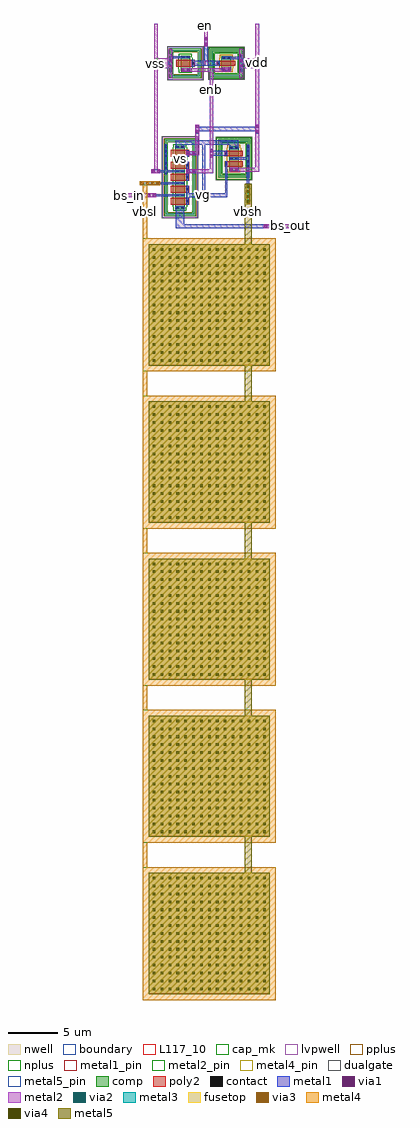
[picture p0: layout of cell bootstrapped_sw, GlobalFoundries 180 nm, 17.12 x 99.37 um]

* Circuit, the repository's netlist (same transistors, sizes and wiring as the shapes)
* NGSPICE file created from bootstrapped_sw.ext - technology: gf180mcuD

.subckt XM1_bs G D a_n302_n324# a_n302_252# S
X0 S G D a_n302_n324# nfet_06v0 ad=0.44p pd=2.88u as=0.44p ps=2.88u w=1u l=0.7u
.ends

.subckt XM4_bs G D w_n319_n356# S
X0 S G D w_n319_n356# pfet_06v0 ad=0.44p pd=2.88u as=0.44p ps=2.88u w=1u l=0.55u
.ends

.subckt XMs1_bs G D a_n302_n324# S
X0 D G S a_n302_n324# nfet_06v0 ad=0.44p pd=2.88u as=0.44p ps=2.88u w=1u l=0.7u
.ends

.subckt bs_cap I1_1_1_R0_BOT I1_1_1_R0_TOP
X0 I1_1_1_R0_TOP I1_1_1_R0_BOT cap_mim_2f0fF c_width=12.339999u c_length=12.339999u
.ends

.subckt XM3_bs G D w_n319_n356# S
X0 D G S w_n319_n356# pfet_06v0 ad=0.44p pd=2.88u as=0.44p ps=2.88u w=1u l=0.55u
.ends

.subckt XM1_bs_inv G D a_n302_n324# S
X0 D G S a_n302_n324# nfet_06v0 ad=0.44p pd=2.88u as=0.44p ps=2.88u w=1u l=0.7u
.ends

.subckt XM2_bs_inv G D w_n319_n356# S
X0 D G S w_n319_n356# pfet_06v0 ad=0.44p pd=2.88u as=0.44p ps=2.88u w=1u l=0.55u
.ends

.subckt bs_inv inv_out vdd inv_in vss
XXM1_bs_inv_0 inv_in inv_out vss vss XM1_bs_inv
XXM2_bs_inv_0 inv_in inv_out vdd vdd XM2_bs_inv
.ends

.subckt XMs_bs G D a_n302_n324# S
X0 D G S a_n302_n324# nfet_06v0 ad=0.44p pd=2.88u as=0.44p ps=2.88u w=1u l=0.7u
.ends

.subckt XM2_bs G D a_n302_n324# a_n302_252# S
X0 D G S a_n302_n324# nfet_06v0 ad=0.44p pd=2.88u as=0.44p ps=2.88u w=1u l=0.7u
.ends

.subckt XMs2_bs G D a_n302_n324# a_n302_252# S
X0 S G D a_n302_n324# nfet_06v0 ad=0.44p pd=2.88u as=0.44p ps=2.88u w=1u l=0.7u
.ends

.subckt bootstrapped_sw vbsl vbsh vdd vss en enb bs_in bs_out vg vs
XXM1_bs_0 vg bs_in vss vss vbsl XM1_bs
XXM4_bs_0 vg vbsh vbsh vdd XM4_bs
XXMs1_bs_0 vdd vs vss vg XMs1_bs
Xbs_cap_0 vbsl vbsh bs_cap
Xbs_cap_1 vbsl vbsh bs_cap
XXM3_bs_0 enb vg vbsh vbsh XM3_bs
Xbs_cap_2 vbsl vbsh bs_cap
Xbs_cap_4 vbsl vbsh bs_cap
Xbs_cap_3 vbsl vbsh bs_cap
Xbs_inv_0 enb vdd en vss bs_inv
XXMs_bs_0 vg bs_out vss bs_in XMs_bs
XXM2_bs_0 enb vbsl vss vss vss XM2_bs
XXMs2_bs_0 enb vs vss vss vss XMs2_bs
.ends

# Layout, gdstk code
from math import pi, radians
import gdstk
lib = gdstk.Library(unit=1e-6, precision=1e-09)
def R(c, l, rs):  # rectangles x0, y0, x1, y1
    for r in rs: c.add(gdstk.rectangle(r[:2], r[2:], *l))
def A(c, l, x, y, w, h, nx, ny, dx, dy):  # array of equal rectangles
    R(c, l, [(x+i*dx, y+j*dy, x+i*dx+w, y+j*dy+h) for i in range(nx) for j in range(ny)])
boundary = (0, 0)
nwell = (21, 0)
comp = (22, 0)
poly2 = (30, 0)
pplus = (31, 0)
nplus = (32, 0)
contact = (33, 0)
metal1 = (34, 0)
metal1_pin = (34, 10)
via1 = (35, 0)
metal2 = (36, 0)
metal2_pin = (36, 10)
via2 = (38, 0)
via3 = (40, 0)
via4 = (41, 0)
metal3 = (42, 0)
metal4 = (46, 0)
metal4_pin = (46, 10)
dualgate = (55, 0)
fusetop = (75, 0)
metal5 = (81, 0)
metal5_pin = (81, 10)
cap_mk = (117, 5)
L117_10 = (117, 10)
lvpwell = (204, 0)

xm2_bs_inv = lib.new_cell('XM2_bs_inv')
R(xm2_bs_inv, boundary, [(-1.255,-1.44,1.255,1.44)])
R(xm2_bs_inv, nwell, [(-1.595,-1.78,1.595,1.78)])
R(xm2_bs_inv, comp, [(-1.435,-1.62,1.435,-1.26), (-1.435,-1.26,-1.075,1.26), (1.075,-1.26,1.435,1.26), (-0.715,-0.5,0.715,0.5), (-1.435,1.26,1.435,1.62)])
R(xm2_bs_inv, poly2, [(-0.275,-0.915,0.275,0.96)])
R(xm2_bs_inv, pplus, [(-0.505,-0.73,0.505,-0.66), (-0.875,-0.66,0.875,0.66), (-0.505,0.66,0.505,0.73)])
R(xm2_bs_inv, nplus, [(-1.595,-1.78,1.595,-1.19), (-1.595,-1.19,-1.005,1.19), (1.005,-1.19,1.595,1.19), (-1.595,1.19,1.595,1.78)])
A(xm2_bs_inv, contact, -0.815, -1.55, 0.22, 0.22, 4, 1, 0.47, 0)
R(xm2_bs_inv, contact, [(-0.645,-0.345,-0.425,-0.125), (0.425,-0.345,0.645,-0.125), (-0.645,0.125,-0.425,0.345), (0.425,0.125,0.645,0.345), (-0.11,0.67,0.11,0.89)])
R(xm2_bs_inv, metal1, [(-0.9,-1.555,0.9,-1.325), (-0.65,-0.435,-0.42,0.435), (0.42,-0.435,0.65,0.435), (-0.265,0.665,0.265,0.895)])
R(xm2_bs_inv, dualgate, [(-1.675,-1.86,1.675,1.86)])
xm2_bs_inv.add(gdstk.Label('D', (0.6,0), layer=34, texttype=0))
xm2_bs_inv.add(gdstk.Label('S', (-0.6,0), layer=34, texttype=0))
xm2_bs_inv.add(gdstk.Label('G', (0,0), layer=30, texttype=10))

xm1_bs_inv = lib.new_cell('XM1_bs_inv')
R(xm1_bs_inv, boundary, [(-1.33,-1.44,1.33,1.44)])
R(xm1_bs_inv, comp, [(-1.51,-1.62,1.51,-1.26), (-1.51,-1.26,-1.15,1.26), (1.15,-1.26,1.51,1.26), (-0.79,-0.5,0.79,0.5), (-1.51,1.26,1.51,1.62)])
R(xm1_bs_inv, poly2, [(-0.35,-0.915,0.35,0.96), (-0.35,-0.915,0.35,0.96)])
R(xm1_bs_inv, pplus, [(-1.025,-1.65,1.025,-1.64), (-1.53,-1.64,1.53,-1.23), (-1.53,-1.23,-1.13,1.24), (1.13,-1.23,1.53,1.24), (-1.53,1.24,1.53,1.64)])
R(xm1_bs_inv, nplus, [(-0.58,-0.73,0.58,-0.66), (-0.95,-0.66,0.95,0.66), (-0.58,0.66,0.58,0.73)])
A(xm1_bs_inv, contact, -0.815, -1.55, 0.22, 0.22, 4, 1, 0.47, 0)
R(xm1_bs_inv, contact, [(-0.72,-0.345,-0.5,-0.125), (0.5,-0.345,0.72,-0.125), (-0.72,0.125,-0.5,0.345), (0.5,0.125,0.72,0.345), (-0.11,0.67,0.11,0.89)])
R(xm1_bs_inv, metal1, [(-0.93,-1.555,0.93,-1.325), (-0.725,-0.435,-0.495,0.435), (0.495,-0.435,0.725,0.435), (-0.34,0.665,0.34,0.895)])
R(xm1_bs_inv, dualgate, [(-1.75,-1.86,1.75,1.86)])
R(xm1_bs_inv, lvpwell, [(-1.67,-1.78,1.67,1.78)])
xm1_bs_inv.add(gdstk.Label('D', (0.6,0), layer=34, texttype=0))
xm1_bs_inv.add(gdstk.Label('S', (-0.6,0), layer=34, texttype=0))
xm1_bs_inv.add(gdstk.Label('G', (0,0), layer=30, texttype=10))

bs_inv = lib.new_cell('bs_inv')
R(bs_inv, metal1, [(3.55,-5.865,4.45,-5.485), (3.275,-5.715,3.505,-3.725), (4.495,-4.61,4.875,-3.71), (3.735,-3.495,4.265,-0.665), (4.42,-0.45,4.8,0.45), (3.35,-0.435,3.58,1.555), (3.55,1.325,4.45,1.705)])
R(bs_inv, metal1_pin, [(3.07,-5.715,3.3,-5.485), (3.735,-2.17,4.265,-1.83), (3.1,1.325,3.33,1.555)])
R(bs_inv, via1, [(3.61,-5.805,3.87,-5.545), (4.13,-5.805,4.39,-5.545), (4.555,-4.55,4.815,-4.29), (4.555,-4.03,4.815,-3.77), (4.48,-0.39,4.74,-0.13), (4.48,0.13,4.74,0.39), (3.61,1.385,3.87,1.645), (4.13,1.385,4.39,1.645)])
R(bs_inv, metal2, [(2.5,-5.865,5.5,-5.485), (3.55,-5.865,4.45,-5.485), (4.495,-4.61,4.875,-3.71), (4.495,-4.61,4.875,0.45), (4.42,-0.45,4.8,0.45), (2.5,1.325,5.5,1.705), (3.55,1.325,4.45,1.705)])
R(bs_inv, metal2_pin, [(4.495,-2.17,4.875,-1.83)])
bs_inv.add(gdstk.Reference(xm2_bs_inv, (4,0), x_reflection=True))
bs_inv.add(gdstk.Reference(xm1_bs_inv, (4,-4.16)))
bs_inv.add(gdstk.Label('inv_out', (4.68,-1.998), layer=36, texttype=10))
bs_inv.add(gdstk.Label('vdd', (3.214,1.44), layer=34, texttype=10))
bs_inv.add(gdstk.Label('vss', (3.184,-5.6), layer=34, texttype=10))
bs_inv.add(gdstk.Label('inv_in', (3.999,-1.987), layer=34, texttype=10))

xms1_bs = lib.new_cell('XMs1_bs')
R(xms1_bs, boundary, [(-1.33,-1.44,1.33,1.44)])
R(xms1_bs, comp, [(-1.51,-1.62,1.51,-1.26), (-1.51,-1.26,-1.15,1.26), (-0.79,-0.5,0.79,0.5), (-1.51,1.26,1.51,1.62)])
R(xms1_bs, poly2, [(-0.35,-0.915,0.35,0.96)])
R(xms1_bs, pplus, [(-1.025,-1.65,1.025,-1.64), (-1.53,-1.64,1.53,-1.23), (-1.53,-1.23,-1.13,1.24), (-1.53,1.24,1.53,1.64)])
R(xms1_bs, nplus, [(-0.58,-0.73,0.61,-0.66), (-0.95,-0.66,0.95,0.66), (-0.58,0.66,0.61,0.73)])
A(xms1_bs, contact, -0.815, -1.55, 0.22, 0.22, 3, 1, 0.47, 0)
R(xms1_bs, contact, [(-0.72,-0.345,-0.5,-0.125), (0.5,-0.345,0.72,-0.125), (-0.72,0.125,-0.5,0.345), (0.5,0.125,0.72,0.345), (-0.11,0.67,0.11,0.89)])
R(xms1_bs, metal1, [(-0.93,-1.555,0.93,-1.325), (-0.725,-0.435,-0.495,0.435), (0.495,-0.435,0.725,0.435), (-0.34,0.665,0.34,0.895)])
R(xms1_bs, dualgate, [(-1.75,-1.86,1.75,1.86)])
R(xms1_bs, lvpwell, [(-1.67,-1.78,1.67,1.78)])
xms1_bs.add(gdstk.Label('D', (0.6,0), layer=34, texttype=0))
xms1_bs.add(gdstk.Label('S', (-0.6,0), layer=34, texttype=0))
xms1_bs.add(gdstk.Label('G', (0,0), layer=30, texttype=10))

xms_bs = lib.new_cell('XMs_bs')
R(xms_bs, boundary, [(-1.33,-1.44,1.33,1.44)])
R(xms_bs, comp, [(-1.51,-1.62,1.51,-1.26), (1.15,-1.26,1.51,1.26), (-0.79,-0.5,0.79,0.5), (-1.51,1.26,1.51,1.62)])
R(xms_bs, poly2, [(-0.35,-0.915,0.35,0.96)])
R(xms_bs, pplus, [(-1.025,-1.65,1.025,-1.64), (-1.53,-1.64,1.53,-1.23), (1.13,-1.23,1.53,1.24), (-1.53,1.24,1.53,1.64)])
R(xms_bs, nplus, [(-0.61,-0.73,0.58,-0.66), (-0.95,-0.66,0.95,0.66), (-0.61,0.66,0.58,0.73)])
R(xms_bs, contact, [(-0.72,-0.345,-0.5,-0.125), (0.5,-0.345,0.72,-0.125), (-0.72,0.125,-0.5,0.345), (0.5,0.125,0.72,0.345), (-0.11,0.67,0.11,0.89)])
R(xms_bs, metal1, [(-0.725,-0.435,-0.495,0.435), (0.495,-0.435,0.725,0.435), (-0.34,0.665,0.34,0.895)])
R(xms_bs, dualgate, [(-1.75,-1.86,1.75,1.86)])
R(xms_bs, lvpwell, [(-1.67,-1.78,1.67,1.78)])
xms_bs.add(gdstk.Label('D', (0.6,0), layer=34, texttype=0))
xms_bs.add(gdstk.Label('S', (-0.6,0), layer=34, texttype=0))
xms_bs.add(gdstk.Label('G', (0,0), layer=30, texttype=10))

xm1_bs = lib.new_cell('XM1_bs')
R(xm1_bs, boundary, [(-1.33,-1.44,1.33,1.44)])
R(xm1_bs, comp, [(-1.51,-1.62,1.51,-1.26), (-0.79,-0.5,0.79,0.5), (-1.51,1.26,1.51,1.62)])
R(xm1_bs, poly2, [(-0.35,-0.915,0.35,0.96)])
R(xm1_bs, pplus, [(-1.025,-1.65,1.025,-1.64), (-1.53,-1.64,1.53,-1.23), (-1.53,1.24,1.53,1.64)])
R(xm1_bs, nplus, [(-0.61,-0.73,0.61,-0.66), (-0.95,-0.66,0.95,0.66), (-0.61,0.66,0.61,0.73)])
R(xm1_bs, contact, [(-0.72,-0.345,-0.5,-0.125), (0.5,-0.345,0.72,-0.125), (-0.72,0.125,-0.5,0.345), (0.5,0.125,0.72,0.345), (-0.11,0.67,0.11,0.89)])
R(xm1_bs, metal1, [(-0.725,-0.435,-0.495,0.435), (0.495,-0.435,0.725,0.435), (-0.34,0.665,0.34,0.895)])
R(xm1_bs, dualgate, [(-1.75,-1.86,1.75,1.86)])
R(xm1_bs, lvpwell, [(-1.67,-1.78,1.67,1.78)])
xm1_bs.add(gdstk.Label('D', (-0.6,0), layer=34, texttype=0))
xm1_bs.add(gdstk.Label('S', (0.6,0), layer=34, texttype=0))
xm1_bs.add(gdstk.Label('G', (0,0), layer=30, texttype=10))

xm2_bs = lib.new_cell('XM2_bs')
R(xm2_bs, boundary, [(-1.33,-1.44,1.33,1.44)])
R(xm2_bs, comp, [(-1.51,-1.62,1.51,-1.26), (-0.79,-0.5,0.79,0.5), (-1.51,1.26,1.51,1.62)])
R(xm2_bs, poly2, [(-0.35,-0.915,0.35,0.96)])
R(xm2_bs, pplus, [(-1.025,-1.65,1.025,-1.64), (-1.53,-1.64,1.53,-1.23), (-1.53,1.24,1.53,1.64)])
R(xm2_bs, nplus, [(-0.61,-0.73,0.61,-0.66), (-0.95,-0.66,0.95,0.66), (-0.61,0.66,0.61,0.73)])
R(xm2_bs, contact, [(-0.72,-0.345,-0.5,-0.125), (0.5,-0.345,0.72,-0.125), (-0.72,0.125,-0.5,0.345), (0.5,0.125,0.72,0.345), (-0.11,0.67,0.11,0.89)])
R(xm2_bs, metal1, [(-0.725,-0.435,-0.495,0.435), (0.495,-0.435,0.725,0.435), (-0.34,0.665,0.34,0.895)])
R(xm2_bs, dualgate, [(-1.75,-1.86,1.75,1.86)])
R(xm2_bs, lvpwell, [(-1.67,-1.78,1.67,1.78)])
xm2_bs.add(gdstk.Label('D', (0.6,0), layer=34, texttype=0))
xm2_bs.add(gdstk.Label('S', (-0.6,0), layer=34, texttype=0))
xm2_bs.add(gdstk.Label('G', (0,0), layer=30, texttype=10))

xms2_bs = lib.new_cell('XMs2_bs')
R(xms2_bs, boundary, [(-1.33,-1.44,1.33,1.44)])
R(xms2_bs, comp, [(-1.51,-1.62,1.51,-1.26), (-0.79,-0.5,0.79,0.5), (-1.51,1.26,1.51,1.62)])
R(xms2_bs, poly2, [(-0.35,-0.915,0.35,0.96)])
R(xms2_bs, pplus, [(-1.025,-1.65,1.025,-1.64), (-1.53,-1.64,1.53,-1.23), (-1.53,1.24,1.53,1.64)])
R(xms2_bs, nplus, [(-0.61,-0.73,0.61,-0.66), (-0.95,-0.66,0.95,0.66), (-0.61,0.66,0.61,0.73)])
R(xms2_bs, contact, [(-0.345,-1.55,-0.125,-1.33), (0.125,-1.55,0.345,-1.33), (-0.72,-0.345,-0.5,-0.125), (0.5,-0.345,0.72,-0.125), (-0.72,0.125,-0.5,0.345), (0.5,0.125,0.72,0.345), (-0.11,0.67,0.11,0.89)])
R(xms2_bs, metal1, [(-0.93,-1.555,0.93,-1.325), (-0.725,-0.435,-0.495,0.435), (0.495,-0.435,0.725,0.435), (-0.34,0.665,0.34,0.895)])
R(xms2_bs, dualgate, [(-1.75,-1.86,1.75,1.86)])
R(xms2_bs, lvpwell, [(-1.67,-1.78,1.67,1.78)])
xms2_bs.add(gdstk.Label('D', (-0.6,0), layer=34, texttype=0))
xms2_bs.add(gdstk.Label('S', (0.6,0), layer=34, texttype=0))
xms2_bs.add(gdstk.Label('G', (0,0), layer=30, texttype=10))

xm4_bs = lib.new_cell('XM4_bs')
R(xm4_bs, boundary, [(-1.255,-1.44,1.255,1.44)])
R(xm4_bs, nwell, [(-1.595,-1.78,1.595,1.78)])
R(xm4_bs, comp, [(-1.435,-1.62,1.435,-1.26), (1.075,-1.26,1.435,1.26), (-0.715,-0.5,0.715,0.5), (-1.435,1.26,1.435,1.62)])
R(xm4_bs, poly2, [(-0.275,-0.915,0.275,0.96)])
R(xm4_bs, pplus, [(-0.532,-0.73,0.505,-0.66), (-0.875,-0.66,0.875,0.66), (-0.537,0.66,0.505,0.73)])
R(xm4_bs, nplus, [(-1.595,-1.78,1.595,-1.19), (1.005,-1.19,1.595,1.19), (-1.595,1.19,1.595,1.78)])
A(xm4_bs, contact, -0.345, -1.55, 0.22, 0.22, 3, 1, 0.47, 0)
R(xm4_bs, contact, [(-0.645,-0.345,-0.425,-0.125), (0.425,-0.345,0.645,-0.125), (-0.645,0.125,-0.425,0.345), (0.425,0.125,0.645,0.345), (-0.11,0.67,0.11,0.89)])
R(xm4_bs, metal1, [(-0.9,-1.555,0.9,-1.325), (-0.65,-0.435,-0.42,0.435), (0.42,-0.435,0.65,0.435), (-0.265,0.665,0.265,0.895)])
R(xm4_bs, dualgate, [(-1.675,-1.86,1.675,1.86)])
xm4_bs.add(gdstk.Label('D', (-0.6,0), layer=34, texttype=0))
xm4_bs.add(gdstk.Label('S', (0.6,0), layer=34, texttype=0))
xm4_bs.add(gdstk.Label('G', (0,0), layer=30, texttype=10))

xm3_bs = lib.new_cell('XM3_bs')
R(xm3_bs, boundary, [(-1.255,-1.44,1.255,1.44)])
R(xm3_bs, nwell, [(-1.595,-1.78,1.595,1.78)])
R(xm3_bs, comp, [(-1.435,-1.62,1.435,-1.26), (1.075,-1.26,1.435,1.26), (-0.715,-0.5,0.715,0.5), (-1.435,1.26,1.435,1.62)])
R(xm3_bs, poly2, [(-0.275,-0.915,0.275,0.96)])
R(xm3_bs, pplus, [(-0.538,-0.73,0.505,-0.66), (-0.875,-0.66,0.875,0.66), (-0.533,0.66,0.505,0.73)])
R(xm3_bs, nplus, [(-1.595,-1.78,1.595,-1.19), (1.005,-1.19,1.595,1.19), (-1.595,1.19,1.595,1.78)])
A(xm3_bs, contact, -0.345, -1.55, 0.22, 0.22, 3, 1, 0.47, 0)
R(xm3_bs, contact, [(-0.645,-0.345,-0.425,-0.125), (0.425,-0.345,0.645,-0.125), (-0.645,0.125,-0.425,0.345), (0.425,0.125,0.645,0.345), (-0.11,0.67,0.11,0.89)])
R(xm3_bs, metal1, [(-0.9,-1.555,0.9,-1.325), (-0.65,-0.435,-0.42,0.435), (0.42,-0.435,0.65,0.435), (-0.265,0.665,0.265,0.895)])
R(xm3_bs, dualgate, [(-1.675,-1.86,1.675,1.86)])
xm3_bs.add(gdstk.Label('D', (0.6,0), layer=34, texttype=0))
xm3_bs.add(gdstk.Label('S', (-0.6,0), layer=34, texttype=0))
xm3_bs.add(gdstk.Label('G', (0,0), layer=30, texttype=10))

bs_cap = lib.new_cell('bs_cap')
A(bs_cap, via4, 19.6, 118.4, 0.26, 0.26, 3, 3, 0.81, 0.81)
A(bs_cap, via4, 22.025, 118.4, 0.26, 0.26, 12, 3, 0.805, 0.81)
A(bs_cap, via4, 19.6, 120.825, 0.26, 0.26, 3, 12, 0.81, 0.805)
A(bs_cap, via4, 22.025, 120.825, 0.26, 0.26, 12, 12, 0.805, 0.805)
R(bs_cap, metal4, [(18.6,117.4,32.14,130.94)])
R(bs_cap, fusetop, [(19.2,118,31.54,130.34)])
R(bs_cap, metal5, [(19.2,118,31.54,130.34)])
R(bs_cap, cap_mk, [(18.6,117.4,32.14,130.94)])
R(bs_cap, L117_10, [(19.2,118,31.54,118.1)])
bs_cap.add(gdstk.Label('BOT', (25.37,124.17), layer=46, texttype=0))
bs_cap.add(gdstk.Label('TOP', (25.37,124.17), layer=81, texttype=0))
bs_cap.add(gdstk.Label('I1_1_1_R0_BOT', (18.625,117.425), layer=46, texttype=10))
bs_cap.add(gdstk.Label('I1_1_1_R0_TOP', (19.225,118.025), layer=81, texttype=10))

bootstrapped_sw = lib.new_cell('bootstrapped_sw')
R(bootstrapped_sw, metal1, [(22.405,23.1,23.275,25.325), (22.405,23.1,32.29,23.48), (31.39,23.1,32.29,23.48), (23.505,25.48,23.735,27.38), (29.585,25.52,29.985,26.56), (23.505,26.215,27.675,26.655), (25.13,26.215,25.43,32.03), (27.445,26.215,27.675,29.895), (19.51,26.24,20.41,26.62), (19.51,26.315,23.275,26.545), (29.585,26.56,29.985,27.6), (18.76,27.45,19.8,27.85), (19.8,27.45,20.84,27.85), (19.28,27.535,23.275,27.765), (29.665,27.6,29.895,31.6), (23.505,27.92,23.735,29.82), (19.94,28.68,20.84,29.06), (23.505,28.68,24.405,29.06), (20.84,28.755,23.275,28.985), (27.905,28.83,28.805,29.21), (27.905,30.05,29.895,30.28), (25.85,30.25,26.23,31.15), (25.85,30.435,27.675,30.965), (23.505,30.51,24.405,30.89), (27.905,31.12,28.775,32.03), (22.405,31.195,23.275,32.03), (22.405,31.59,28.775,32.03), (30.525,32.715,30.905,33.615), (24.405,32.72,24.785,33.62), (24.405,32.95,30.905,33.39), (25.29,39.605,25.67,42.52), (25.29,41.62,25.67,42.52)])
R(bootstrapped_sw, metal1_pin, [(25.13,26.215,25.43,26.655), (22.61,29.975,23.05,30.205)])
A(bootstrapped_sw, via1, 29.655, 25.65, 0.26, 0.26, 1, 4, 0, 0.52)
A(bootstrapped_sw, via1, 18.89, 27.52, 0.26, 0.26, 4, 1, 0.52, 0)
R(bootstrapped_sw, via1, [(31.45,23.16,31.71,23.42), (31.97,23.16,32.23,23.42), (19.57,26.3,19.83,26.56), (20.09,26.3,20.35,26.56), (20,28.74,20.26,29), (20.52,28.74,20.78,29), (23.565,28.74,23.825,29), (24.085,28.74,24.345,29), (27.965,28.89,28.225,29.15), (28.485,28.89,28.745,29.15), (25.91,30.31,26.17,30.57), (23.565,30.57,23.825,30.83), (24.085,30.57,24.345,30.83), (25.91,30.83,26.17,31.09), (30.585,32.775,30.845,33.035), (24.465,32.78,24.725,33.04), (30.585,33.295,30.845,33.555), (24.465,33.3,24.725,33.56), (25.35,41.68,25.61,41.94), (25.35,42.2,25.61,42.46)])
R(bootstrapped_sw, metal2, [(31.39,23.1,32.29,23.48), (31.39,23.1,34.46,23.48), (29.585,25.52,29.985,26.56), (17.34,26.24,20.41,26.62), (19.51,26.24,20.41,26.62), (19.51,26.24,20.41,26.62), (29.585,26.56,29.985,27.6), (18.76,27.45,19.8,27.85), (19.8,27.45,20.84,27.85), (19.94,28.68,20.84,29.06), (19.94,28.68,20.84,29.06), (20.2,28.68,20.58,43.87), (23.505,28.68,24.405,29.06), (23.505,28.68,24.405,29.06), (23.505,28.68,26.23,29.06), (25.85,28.68,26.23,39.375), (27.905,28.83,28.805,29.21), (27.905,28.83,28.805,29.21), (27.905,28.83,30.905,29.21), (30.525,28.83,30.905,43.87), (25.85,30.25,26.23,31.15), (25.85,30.25,26.23,31.15), (23.505,30.51,24.405,30.89), (23.505,30.51,24.785,30.89), (24.405,30.51,24.785,33.62), (30.525,32.715,30.905,33.615), (24.405,32.72,24.785,33.62), (20.2,39.37,22.075,40.37), (28.885,39.37,30.905,40.37), (25.29,41.62,25.67,42.52), (25.29,41.62,25.67,43.87)])
R(bootstrapped_sw, metal2_pin, [(33.81,23.1,34.46,23.48), (17.34,26.24,17.99,26.62), (25.85,37.03,26.23,37.33), (20.2,39.37,20.58,40.37), (30.525,39.37,30.905,40.37), (25.29,43.57,25.67,43.87)])
A(bootstrapped_sw, via2, 29.655, 25.65, 0.26, 0.26, 1, 4, 0, 0.52)
A(bootstrapped_sw, via2, 18.89, 27.52, 0.26, 0.26, 4, 1, 0.52, 0)
A(bootstrapped_sw, via3, 29.655, 25.65, 0.26, 0.26, 1, 4, 0, 0.52)
A(bootstrapped_sw, via3, 18.89, 27.52, 0.26, 0.26, 4, 1, 0.52, 0)
A(bootstrapped_sw, via4, 29.655, 25.65, 0.26, 0.26, 1, 4, 0, 0.52)
R(bootstrapped_sw, metal3, [(29.585,25.52,29.985,26.56), (29.585,26.56,29.985,27.6), (18.76,27.45,19.8,27.85), (19.8,27.45,20.84,27.85)])
R(bootstrapped_sw, metal4, [(19.06,-49.045,19.5,27.85), (29.585,25.52,29.985,26.56), (29.585,26.56,29.985,27.6), (18.76,27.45,19.8,27.85), (19.8,27.45,20.84,27.85)])
R(bootstrapped_sw, metal4_pin, [(19.06,24.41,19.5,25.11)])
R(bootstrapped_sw, metal5, [(29.435,-50.9,30.135,27.6), (29.585,25.52,29.985,26.56), (29.585,26.56,29.985,27.6)])
R(bootstrapped_sw, metal5_pin, [(29.435,24.41,30.135,25.11)])
bootstrapped_sw.add(gdstk.Reference(bs_inv, (27.56,43.87), rotation=3*pi/2))
bootstrapped_sw.add(gdstk.Reference(xms1_bs, (22.84,30.7), rotation=3*pi/2))
bootstrapped_sw.add(gdstk.Reference(xms_bs, (22.84,25.82), rotation=3*pi/2))
bootstrapped_sw.add(gdstk.Reference(xm1_bs, (22.84,27.04), rotation=pi/2, x_reflection=True))
bootstrapped_sw.add(gdstk.Reference(xm2_bs, (22.84,28.26), rotation=3*pi/2))
bootstrapped_sw.add(gdstk.Reference(xms2_bs, (22.84,29.48), rotation=3*pi/2))
bootstrapped_sw.add(gdstk.Reference(xm4_bs, (28.34,29.63), rotation=3*pi/2, x_reflection=True))
bootstrapped_sw.add(gdstk.Reference(xm3_bs, (28.34,30.7), rotation=pi/2))
bootstrapped_sw.add(gdstk.Reference(bs_cap, (0.46,-108.9)))
bootstrapped_sw.add(gdstk.Reference(bs_cap, (0.46,-124.9)))
bootstrapped_sw.add(gdstk.Reference(bs_cap, (0.46,-140.9)))
bootstrapped_sw.add(gdstk.Reference(bs_cap, (0.46,-156.9)))
bootstrapped_sw.add(gdstk.Reference(bs_cap, (0.46,-172.9)))
bootstrapped_sw.add(gdstk.Label('vbsl', (19.27,24.775), layer=46, texttype=10))
bootstrapped_sw.add(gdstk.Label('vbsh', (29.8,24.745), layer=81, texttype=10))
bootstrapped_sw.add(gdstk.Label('vdd', (30.72,39.93), layer=36, texttype=10))
bootstrapped_sw.add(gdstk.Label('vss', (20.4,39.88), layer=36, texttype=10))
bootstrapped_sw.add(gdstk.Label('en', (25.49,43.725), layer=36, texttype=10))
bootstrapped_sw.add(gdstk.Label('enb', (26.05,37.185), layer=36, texttype=10))
bootstrapped_sw.add(gdstk.Label('bs_in', (17.67,26.45), layer=36, texttype=10))
bootstrapped_sw.add(gdstk.Label('bs_out', (34.13,23.31), layer=36, texttype=10))
bootstrapped_sw.add(gdstk.Label('vg', (25.27,26.46), layer=34, texttype=10))
bootstrapped_sw.add(gdstk.Label('vs', (22.855,30.135), layer=34, texttype=10))

lib.write_gds('bootstrapped_sw.gds')
